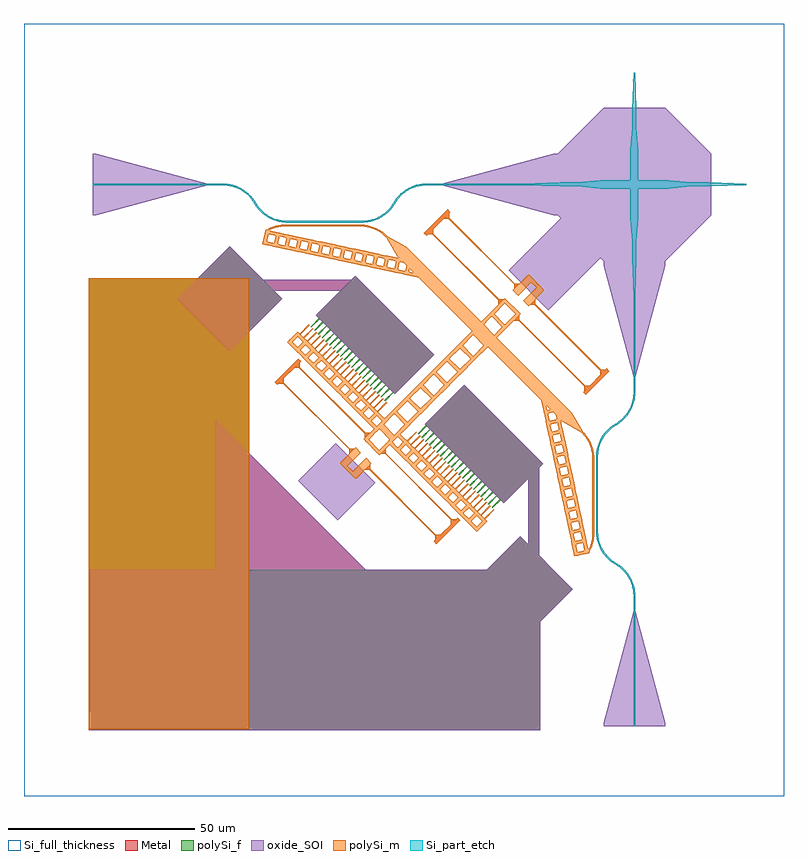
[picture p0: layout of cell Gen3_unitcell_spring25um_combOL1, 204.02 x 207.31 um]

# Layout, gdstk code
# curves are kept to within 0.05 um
from math import pi, radians
import gdstk
lib = gdstk.Library(unit=1e-6, precision=1e-09)
def R(c, l, rs):  # rectangles x0, y0, x1, y1
    for r in rs: c.add(gdstk.rectangle(r[:2], r[2:], *l))
def P(c, l, *ps):  # polygons
    for p in ps: c.add(gdstk.Polygon(p, *l))
Si_full_thickness = (1, 0)
Si_part_etch = (2, 0)
oxide_SOI = (3, 0)
polySi_m = (6, 0)
polySi_f = (7, 0)
Metal = (8, 0)

spring_w300nm_l25um = lib.new_cell('Spring_w300nm_l25um')
R(spring_w300nm_l25um, polySi_m, [(27.215,22.144,28.214,31.144), (29.064,23.495,54.064,23.795), (29.064,29.495,54.064,29.795)])
P(spring_w300nm_l25um, polySi_m, [(28.214,29.644),(28.214,30.644),(29.214,29.644)],
  [(28.214,28.644),(28.214,29.644),(29.214,29.644)],
  [(28.214,23.644),(28.214,24.644),(29.214,23.644)],
  [(28.214,22.644),(28.214,23.644),(29.214,23.644)],
  [(53.914,29.644),(54.914,30.644),(54.914,29.644)],
  [(54.914,28.644),(53.914,29.644),(54.914,29.644)],
  [(53.914,23.644),(54.914,24.644),(54.914,23.644)],
  [(54.914,22.644),(53.914,23.644),(54.914,23.644)])
R(spring_w300nm_l25um, Metal, [(27.215,22.144,28.214,31.144), (29.064,23.495,54.064,23.795), (29.064,29.495,54.064,29.795)])
P(spring_w300nm_l25um, Metal, [(28.214,29.645),(28.214,30.645),(29.214,29.645)],
  [(28.214,28.645),(28.214,29.645),(29.214,29.645)],
  [(28.214,23.645),(28.214,24.645),(29.214,23.645)],
  [(28.214,22.645),(28.214,23.645),(29.214,23.645)],
  [(53.914,29.645),(54.914,30.645),(54.914,29.645)],
  [(54.914,28.645),(53.914,29.645),(54.914,29.645)],
  [(53.914,23.645),(54.914,24.645),(54.914,23.645)],
  [(54.914,22.645),(53.914,23.645),(54.914,23.645)])

transition_w450nm_l30um = lib.new_cell('Transition_w450nm_l30um')
R(transition_w450nm_l30um, Si_part_etch, [(0,-0.225,30,0.225)])
R(transition_w450nm_l30um, oxide_SOI, [(30,-0.225,31,0.225)])
P(transition_w450nm_l30um, oxide_SOI, [(0,-8.225),(0,8.225),(30,0.225),(30,-0.225)])

crossing_linear_3d_switc = lib.new_cell('crossing_linear_3D_switch')
P(crossing_linear_3d_switc, Si_part_etch, [(-0.2,-30),(-0.55,-20),(0.55,-20),(0.2,-30)],
  [(-0.55,20),(-0.2,30),(0.2,30),(0.55,20)],
  [(20,-0.55),(20,0.55),(30,0.2),(30,-0.2)],
  [(-20,-0.55),(-30,-0.2),(-30,0.2),(-20,0.55)],
  [(-0.55,-20),(-0.55,-15.25),(-1.1,-9.25),(-1.1,-1.1),(-9.25,-1.1),(-15.25,-0.55),(-20,-0.55),(-20,0.55),(-15.25,0.55),(-9.25,1.1),(-1.1,1.1),(-1.1,9.25),(-0.55,15.25),(-0.55,20),(0.55,20),(0.55,15.25),(1.1,9.25),(1.1,1.1),(9.25,1.1),(15.25,0.55),(20,0.55),(20,-0.55),(15.25,-0.55),(9.25,-1.1),(1.1,-1.1),(1.1,-9.25),(0.55,-15.25),(0.55,-20)])
R(crossing_linear_3d_switc, oxide_SOI, [(-8.225,-20.6,8.225,20.6), (-20.6,-8.225,20.6,8.225)])
P(crossing_linear_3d_switc, oxide_SOI, [(-20.6,8.225),(-8.225,20.6),(-8.225,8.225)],
  [(8.225,8.225),(8.225,20.6),(20.6,8.225)],
  [(8.225,-20.6),(8.225,-8.225),(20.6,-8.225)],
  [(-8.225,-20.6),(-20.6,-8.225),(-8.225,-8.225)])

gen3_unitcell_spring25um = lib.new_cell('Gen3_unitcell_spring25um_combOL1')
R(gen3_unitcell_spring25um, Si_full_thickness, [(-73.38,-154,130.64,53.31)])
R(gen3_unitcell_spring25um, Si_part_etch, [(90.254,-135.191,90.704,-134.297), (90.254,-104.297,90.704,-100.297), (80.229,-82.933,80.679,-62.933), (90.254,-45.569,90.704,-41.569), (90.254,-11.569,90.704,-10.391), (-2.663,-0.041,17.337,0.409), (-54.921,9.984,-54.027,10.434), (-24.027,9.984,-20.027,10.434), (34.701,9.984,38.701,10.434), (68.701,9.984,69.879,10.434)])
P(gen3_unitcell_spring25um, Si_part_etch, [(90.254,-100.297),(90.183,-99.115),(89.97,-97.951),(89.618,-96.821),(89.132,-95.742),(88.52,-94.729),(87.523,-93.508),(86.343,-92.462),(85.354,-91.81),(85.579,-91.42),(86.889,-92.317),(87.772,-93.118),(88.556,-94.016),(89.429,-95.343),(90.087,-96.79),(90.429,-97.932),(90.582,-98.713),(90.704,-100.297)],
  [(85.354,-91.81),(84.044,-90.913),(83.161,-90.112),(82.377,-89.214),(81.504,-87.887),(80.846,-86.44),(80.504,-85.298),(80.297,-84.123),(80.229,-82.933),(80.679,-82.933),(80.75,-84.115),(80.963,-85.279),(81.462,-86.775),(81.991,-87.834),(82.887,-89.132),(83.689,-90.001),(84.59,-90.768),(85.579,-91.42)],
  [(80.229,-62.933),(80.297,-61.743),(80.504,-60.568),(80.99,-59.055),(81.504,-57.979),(82.14,-56.971),(83.162,-55.754),(84.045,-54.952),(85.354,-54.056),(85.579,-54.446),(84.592,-55.097),(83.691,-55.863),(82.888,-56.733),(81.992,-58.031),(81.463,-59.09),(81.065,-60.205),(80.805,-61.359),(80.679,-62.933)],
  [(85.579,-54.446),(85.354,-54.056),(86.341,-53.405),(87.242,-52.639),(88.045,-51.769),(88.941,-50.471),(89.47,-49.412),(89.868,-48.297),(90.128,-47.143),(90.254,-45.569),(90.704,-45.569),(90.636,-46.759),(90.429,-47.934),(89.943,-49.447),(89.429,-50.523),(88.793,-51.531),(87.771,-52.748),(86.888,-53.55)],
  [(26.214,5.084),(25.824,5.309),(26.721,6.619),(27.811,7.775),(28.42,8.286),(29.403,8.96),(30.458,9.516),(31.951,10.059),(33.511,10.366),(34.701,10.434),(34.701,9.984),(33.128,9.858),(31.974,9.598),(30.499,9.039),(29.462,8.467),(28.502,7.776),(27.633,6.974),(26.866,6.073)],
  [(17.337,-0.041),(17.337,0.409),(18.519,0.48),(19.683,0.693),(21.179,1.192),(22.238,1.721),(23.536,2.617),(24.405,3.419),(25.172,4.32),(25.824,5.309),(26.214,5.084),(25.317,3.774),(24.516,2.891),(23.618,2.107),(22.291,1.234),(20.844,0.576),(19.702,0.234),(18.527,0.027)],
  [(-2.663,-0.041),(-3.853,0.027),(-5.028,0.234),(-6.541,0.72),(-7.617,1.234),(-8.625,1.87),(-9.842,2.892),(-10.644,3.775),(-11.54,5.084),(-11.15,5.309),(-10.499,4.322),(-9.733,3.421),(-8.863,2.618),(-7.565,1.722),(-6.506,1.193),(-5.391,0.795),(-4.237,0.535),(-2.663,0.409)],
  [(-11.54,5.084),(-12.191,6.071),(-12.957,6.972),(-13.827,7.775),(-14.787,8.467),(-15.824,9.038),(-17.299,9.598),(-18.453,9.858),(-20.027,9.984),(-20.027,10.434),(-18.837,10.366),(-17.277,10.059),(-15.784,9.516),(-14.729,8.96),(-13.436,8.036),(-12.569,7.217),(-12.046,6.618),(-11.15,5.309)])
R(gen3_unitcell_spring25um, oxide_SOI, [(-56.026,-136.296,-51.246,-131.516), (-55.746,-136.296,65.254,-93.199), (82.254,-135.191,98.704,-134.297), (61.918,-89.425,64.918,-64.425), (-9.155,-18.352,15.845,-15.352), (-9.155,-18.352,15.845,-15.352), (82.254,-11.569,98.704,-10.391), (-54.921,1.984,-54.027,18.434), (68.701,1.984,69.879,18.434)])
P(gen3_unitcell_spring25um, oxide_SOI, [(26.106,-46.101),(4.893,-24.888),(15.5,-14.281),(36.713,-35.494)],
  [(55.382,-75.376),(34.169,-54.163),(44.776,-43.556),(65.989,-64.769)],
  [(59.776,-112.567),(45.634,-98.425),(59.776,-84.283),(73.918,-98.425)],
  [(-21.929,-102.199),(-21.929,-52.953),(27.317,-102.199)],
  [(67.374,-23.503),(56.767,-12.896),(70.908,1.245),(81.515,-9.362)],
  [(10.876,-80.001),(0.269,-69.394),(10.34,-59.323),(20.947,-69.93)],
  [(-18.154,-34.637),(-32.297,-20.494),(-18.154,-6.351),(-4.011,-20.494)])
R(gen3_unitcell_spring25um, polySi_m, [(-56.026,-136.016,-12.929,-15.016), (79.229,-83.433,79.679,-63.433), (-3.163,-1.041,16.837,-0.591)])
P(gen3_unitcell_spring25um, polySi_m, [(10.695,-45.535),(9.988,-44.828),(12.816,-42),(13.523,-42.707)],
  [(10.694,-45.535),(7.866,-42.707),(8.573,-42),(11.401,-44.828)],
  [(12.816,-47.656),(12.109,-46.949),(14.937,-44.121),(15.644,-44.828)],
  [(10.694,-45.535),(9.987,-44.828),(12.815,-42),(13.522,-42.707)],
  [(14.936,-45.535),(12.108,-42.707),(12.815,-42),(15.643,-44.828)],
  [(12.815,-47.656),(9.987,-44.828),(10.694,-44.121),(13.522,-46.949)],
  [(12.815,-47.656),(12.108,-46.949),(14.936,-44.121),(15.643,-44.828)],
  [(17.057,-47.656),(14.229,-44.828),(14.936,-44.121),(17.764,-46.949)],
  [(35.441,-70.283),(34.734,-69.576),(37.563,-66.747),(38.27,-67.454)],
  [(37.563,-72.404),(34.735,-69.576),(35.442,-68.869),(38.27,-71.697)],
  [(33.32,-68.162),(32.613,-67.455),(35.442,-64.626),(36.149,-65.333)],
  [(35.442,-70.283),(34.735,-69.576),(37.563,-66.748),(38.27,-67.455)],
  [(37.563,-68.162),(34.735,-65.334),(35.442,-64.627),(38.27,-67.455)],
  [(35.442,-70.283),(32.614,-67.455),(33.321,-66.748),(36.149,-69.576)],
  [(33.321,-68.162),(32.614,-67.455),(35.442,-64.627),(36.149,-65.334)],
  [(35.442,-66.041),(32.614,-63.213),(33.321,-62.506),(36.149,-65.334)],
  [(36.614,-47.899),(32.371,-43.656),(33.078,-42.949),(37.321,-47.192)],
  [(71.25,-53.516),(26.753,-9.019),(29.193,-6.579),(73.69,-51.076)],
  [(29.542,-47.898),(28.835,-47.191),(33.078,-42.948),(33.785,-43.655)],
  [(33.078,-51.434),(32.371,-50.727),(36.614,-46.484),(37.321,-47.191)],
  [(36.614,-47.898),(32.371,-43.655),(33.078,-42.948),(37.321,-47.191)],
  [(33.078,-44.362),(32.371,-43.655),(36.614,-39.412),(37.321,-40.119)],
  [(36.614,-47.898),(35.907,-47.191),(40.15,-42.948),(40.857,-43.655)],
  [(34.592,-63.778),(34.38,-63.566),(36.855,-61.091),(37.067,-61.303)],
  [(33.602,-62.788),(33.39,-62.576),(35.865,-60.101),(36.077,-60.313)],
  [(34.592,-63.778),(34.38,-63.566),(36.855,-61.091),(37.067,-61.303)],
  [(33.602,-62.788),(33.39,-62.576),(35.865,-60.101),(36.077,-60.313)],
  [(16.703,-45.889),(16.491,-45.677),(18.966,-43.202),(19.178,-43.414)],
  [(17.693,-46.879),(17.481,-46.667),(19.956,-44.192),(20.168,-44.404)],
  [(16.703,-45.889),(16.491,-45.677),(18.966,-43.202),(19.178,-43.414)],
  [(17.693,-46.879),(17.481,-46.667),(19.956,-44.192),(20.168,-44.404)],
  [(43.685,-40.827),(42.978,-40.12),(47.221,-35.877),(47.928,-36.584)],
  [(50.756,-33.757),(46.513,-29.514),(47.22,-28.807),(51.463,-33.05)],
  [(47.22,-37.292),(42.977,-33.049),(43.684,-32.342),(47.927,-36.585)],
  [(43.684,-33.756),(42.977,-33.049),(47.22,-28.806),(47.927,-29.513)],
  [(47.22,-37.292),(46.513,-36.585),(50.756,-32.342),(51.463,-33.049)],
  [(55.706,-28.807),(51.463,-24.564),(52.17,-23.857),(56.413,-28.1)],
  [(52.17,-32.342),(47.927,-28.099),(48.634,-27.392),(52.877,-31.635)],
  [(48.634,-28.806),(47.927,-28.099),(52.17,-23.856),(52.877,-24.563)],
  [(52.17,-32.342),(51.463,-31.635),(55.706,-27.392),(56.413,-28.099)],
  [(59.242,-25.271),(54.999,-21.028),(55.706,-20.321),(59.949,-24.564)],
  [(55.706,-28.806),(51.463,-24.563),(52.17,-23.856),(56.413,-28.099)],
  [(52.17,-25.27),(51.463,-24.563),(55.706,-20.32),(56.413,-21.027)],
  [(55.706,-28.806),(54.999,-28.099),(59.242,-23.856),(59.949,-24.563)],
  [(40.15,-44.363),(35.907,-40.12),(36.614,-39.413),(40.857,-43.656)],
  [(43.685,-40.828),(39.442,-36.585),(40.149,-35.878),(44.392,-40.121)],
  [(40.149,-44.363),(35.906,-40.12),(36.613,-39.413),(40.856,-43.656)],
  [(36.613,-40.827),(35.906,-40.12),(40.149,-35.877),(40.856,-36.584)],
  [(40.149,-44.363),(39.442,-43.656),(43.685,-39.413),(44.392,-40.12)],
  [(47.221,-37.292),(42.978,-33.049),(43.685,-32.342),(47.928,-36.585)],
  [(43.685,-40.827),(39.442,-36.584),(40.149,-35.877),(44.392,-40.12)],
  [(40.149,-37.291),(39.442,-36.584),(43.685,-32.341),(44.392,-33.048)],
  [(62.07,-22.442),(60.656,-21.028),(64.899,-16.785),(66.313,-18.199)],
  [(59.242,-19.614),(57.828,-18.2),(62.071,-13.957),(63.485,-15.371)],
  [(65.606,-18.907),(61.363,-14.664),(62.07,-13.957),(66.313,-18.2)],
  [(12.815,-43.414),(9.987,-40.586),(10.694,-39.879),(13.522,-42.707)],
  [(12.158,-10.449),(11.18,-10.241),(12.012,-6.33),(12.99,-6.538)],
  [(12.782,-7.516),(8.869,-6.684),(9.077,-5.706),(12.99,-6.538)],
  [(12.159,-10.449),(11.181,-10.242),(12.012,-6.33),(12.99,-6.538)],
  [(15.717,-8.14),(11.804,-7.308),(12.012,-6.33),(15.925,-7.162)],
  [(15.093,-11.073),(11.181,-10.242),(11.388,-9.264),(15.301,-10.096)],
  [(11.753,-40.939),(11.541,-40.727),(14.016,-38.252),(14.228,-38.464)],
  [(10.763,-39.949),(10.551,-39.737),(13.026,-37.262),(13.238,-37.474)],
  [(12.743,-41.929),(12.531,-41.717),(15.006,-39.242),(15.218,-39.454)],
  [(11.753,-40.939),(11.541,-40.727),(14.016,-38.252),(14.228,-38.464)],
  [(12.743,-41.929),(12.531,-41.717),(15.006,-39.242),(15.218,-39.454)],
  [(10.764,-39.95),(10.552,-39.738),(13.027,-37.263),(13.239,-37.475)],
  [(18.651,-8.763),(14.738,-7.931),(14.946,-6.953),(18.859,-7.785)],
  [(18.027,-11.696),(14.115,-10.865),(14.322,-9.887),(18.235,-10.719)],
  [(20.961,-12.32),(19.983,-12.112),(20.815,-8.201),(21.793,-8.409)],
  [(18.027,-11.696),(17.049,-11.489),(17.88,-7.577),(18.858,-7.785)],
  [(21.585,-9.387),(17.672,-8.555),(17.88,-7.577),(21.793,-8.409)],
  [(20.961,-12.32),(17.049,-11.489),(17.256,-10.511),(21.169,-11.343)],
  [(23.896,-12.944),(22.918,-12.736),(23.75,-8.825),(24.728,-9.033)],
  [(20.962,-12.32),(19.984,-12.113),(20.815,-8.201),(21.793,-8.409)],
  [(24.52,-10.011),(20.607,-9.179),(20.815,-8.201),(24.728,-9.033)],
  [(23.896,-12.944),(19.984,-12.113),(20.191,-11.135),(24.104,-11.967)],
  [(26.83,-13.568),(25.852,-13.36),(26.684,-9.449),(27.662,-9.657)],
  [(23.896,-12.944),(22.918,-12.737),(23.749,-8.825),(24.727,-9.033)],
  [(27.454,-10.635),(23.541,-9.803),(23.749,-8.825),(27.662,-9.657)],
  [(26.83,-13.568),(22.918,-12.737),(23.125,-11.759),(27.038,-12.591)],
  [(29.765,-14.191),(28.787,-13.983),(29.619,-10.072),(30.597,-10.28)],
  [(26.831,-13.567),(25.853,-13.36),(26.684,-9.448),(27.662,-9.656)],
  [(30.389,-11.258),(26.476,-10.426),(26.684,-9.448),(30.597,-10.28)],
  [(29.765,-14.191),(25.853,-13.36),(26.06,-12.382),(29.973,-13.214)],
  [(32.699,-14.815),(31.721,-14.607),(32.553,-10.696),(33.531,-10.904)],
  [(29.765,-14.191),(28.787,-13.984),(29.618,-10.072),(30.596,-10.28)],
  [(33.323,-11.882),(29.41,-11.05),(29.618,-10.072),(33.531,-10.904)],
  [(32.699,-14.815),(28.787,-13.984),(28.994,-13.006),(32.907,-13.838)],
  [(15.093,-11.073),(14.115,-10.865),(14.947,-6.954),(15.925,-7.162)],
  [(23.767,-3.911),(23.203,-3.388),(22.283,-2.692),(20.942,-1.941),(20.231,-1.646),(19.127,-1.311),(17.991,-1.108),(16.837,-1.041),(16.837,-0.591),(18.042,-0.661),(19.23,-0.873),(20.384,-1.223),(21.128,-1.531),(22.531,-2.317),(23.794,-3.312),(24.085,-3.593)],
  [(23.837,-3.981),(23.766,-3.91),(24.084,-3.592),(24.155,-3.663)],
  [(26.753,-9.019),(23.836,-3.981),(24.155,-3.662),(29.193,-6.579)],
  [(18.027,-11.696),(17.049,-11.488),(17.881,-7.577),(18.859,-7.785)],
  [(15.093,-11.072),(14.115,-10.865),(14.946,-6.953),(15.924,-7.161)],
  [(0.42,-7.954),(-0.558,-7.746),(0.274,-3.835),(1.252,-4.043)],
  [(-2.514,-7.33),(-3.492,-7.123),(-2.661,-3.211),(-1.683,-3.419)],
  [(1.044,-5.021),(-2.869,-4.189),(-2.661,-3.211),(1.252,-4.043)],
  [(0.42,-7.954),(-3.492,-7.123),(-3.285,-6.145),(0.628,-6.977)],
  [(3.355,-8.578),(2.377,-8.37),(3.209,-4.459),(4.187,-4.667)],
  [(0.421,-7.954),(-0.557,-7.747),(0.274,-3.835),(1.252,-4.043)],
  [(3.979,-5.645),(0.066,-4.813),(0.274,-3.835),(4.187,-4.667)],
  [(3.355,-8.578),(-0.557,-7.747),(-0.35,-6.769),(3.563,-7.601)],
  [(6.289,-9.201),(5.311,-8.993),(6.143,-5.082),(7.121,-5.29)],
  [(3.355,-8.577),(2.377,-8.37),(3.208,-4.458),(4.186,-4.666)],
  [(6.913,-6.268),(3,-5.436),(3.208,-4.458),(7.121,-5.29)],
  [(6.289,-9.201),(2.377,-8.37),(2.584,-7.392),(6.497,-8.224)],
  [(9.224,-9.825),(8.246,-9.617),(9.078,-5.706),(10.056,-5.914)],
  [(6.29,-9.201),(5.312,-8.994),(6.143,-5.082),(7.121,-5.29)],
  [(9.848,-6.892),(5.935,-6.06),(6.143,-5.082),(10.056,-5.914)],
  [(9.224,-9.825),(5.312,-8.994),(5.519,-8.016),(9.432,-8.848)],
  [(-8.063,-2.354),(-8.288,-1.964),(-7.263,-1.445),(-6.55,-1.165),(-5.071,-0.769),(-4.313,-0.654),(-3.163,-0.591),(-3.163,-1.041),(-4.736,-1.167),(-5.89,-1.427),(-7.005,-1.824)],
  [(9.224,-9.825),(8.246,-9.618),(9.077,-5.706),(10.055,-5.914)],
  [(-5.448,-6.707),(-6.426,-6.499),(-5.594,-2.588),(-4.616,-2.796)],
  [(12.158,-10.449),(8.246,-9.618),(8.453,-8.64),(12.366,-9.472)],
  [(-8.382,-6.083),(-9.36,-5.876),(-8.529,-1.964),(-7.551,-2.172)],
  [(-4.824,-3.774),(-8.737,-2.942),(-8.529,-1.964),(-4.616,-2.796)],
  [(-5.448,-6.707),(-9.36,-5.876),(-9.153,-4.898),(-5.24,-5.73)],
  [(-2.514,-7.33),(-3.492,-7.122),(-2.66,-3.211),(-1.682,-3.419)],
  [(-5.448,-6.706),(-6.426,-6.499),(-5.595,-2.587),(-4.617,-2.795)],
  [(-1.89,-4.397),(-5.803,-3.565),(-5.595,-2.587),(-1.682,-3.419)],
  [(-2.514,-7.33),(-6.426,-6.499),(-6.219,-5.521),(-2.306,-6.353)],
  [(6.451,-41.292),(5.744,-40.585),(8.572,-37.757),(9.279,-38.464)],
  [(8.784,-37.97),(8.572,-37.758),(11.047,-35.283),(11.259,-35.495)],
  [(10.693,-41.292),(7.865,-38.464),(8.572,-37.757),(11.4,-40.585)],
  [(7.794,-36.98),(7.582,-36.768),(10.057,-34.293),(10.269,-34.505)],
  [(8.572,-43.413),(5.744,-40.585),(6.451,-39.878),(9.279,-42.706)],
  [(6.452,-41.292),(5.745,-40.585),(8.573,-37.757),(9.28,-38.464)],
  [(0.088,-34.928),(-0.619,-34.221),(2.209,-31.393),(2.916,-32.1)],
  [(9.774,-38.96),(9.562,-38.748),(12.037,-36.273),(12.249,-36.485)],
  [(4.33,-39.171),(3.623,-38.464),(6.451,-35.636),(7.158,-36.343)],
  [(8.573,-43.414),(7.866,-42.707),(10.694,-39.879),(11.401,-40.586)],
  [(8.572,-39.171),(5.744,-36.343),(6.451,-35.636),(9.279,-38.464)],
  [(6.451,-41.292),(3.623,-38.464),(4.33,-37.757),(7.158,-40.585)],
  [(-2.034,-32.807),(-2.741,-32.1),(0.087,-29.272),(0.794,-29.979)],
  [(2.208,-32.807),(-0.62,-29.979),(0.087,-29.272),(2.915,-32.1)],
  [(0.087,-34.928),(-2.741,-32.1),(-2.034,-31.393),(0.794,-34.221)],
  [(2.209,-37.049),(1.502,-36.342),(4.33,-33.514),(5.037,-34.221)],
  [(0.087,-34.928),(-0.62,-34.221),(2.208,-31.393),(2.915,-32.1)],
  [(4.329,-34.928),(1.501,-32.1),(2.208,-31.393),(5.036,-34.221)],
  [(2.208,-37.049),(-0.62,-34.221),(0.087,-33.514),(2.915,-36.342)],
  [(1.854,-31.04),(1.642,-30.828),(4.117,-28.353),(4.329,-28.565)],
  [(0.864,-30.05),(0.652,-29.838),(3.127,-27.363),(3.339,-27.575)],
  [(2.844,-32.03),(2.632,-31.818),(5.107,-29.343),(5.319,-29.555)],
  [(1.854,-31.04),(1.642,-30.828),(4.117,-28.353),(4.329,-28.565)],
  [(3.834,-33.02),(3.622,-32.808),(6.097,-30.333),(6.309,-30.545)],
  [(2.844,-32.03),(2.632,-31.818),(5.107,-29.343),(5.319,-29.555)],
  [(4.824,-34.01),(4.612,-33.798),(7.087,-31.323),(7.299,-31.535)],
  [(3.834,-33.02),(3.622,-32.808),(6.097,-30.333),(6.309,-30.545)],
  [(5.814,-35),(5.602,-34.788),(8.077,-32.313),(8.289,-32.525)],
  [(4.824,-34.01),(4.612,-33.798),(7.087,-31.323),(7.299,-31.535)],
  [(6.804,-35.99),(6.592,-35.778),(9.067,-33.303),(9.279,-33.515)],
  [(5.814,-35),(5.602,-34.788),(8.077,-32.313),(8.289,-32.525)],
  [(6.804,-35.99),(6.592,-35.778),(9.067,-33.303),(9.279,-33.515)],
  [(7.794,-36.98),(7.582,-36.768),(10.057,-34.293),(10.269,-34.505)],
  [(8.784,-37.97),(8.572,-37.758),(11.047,-35.283),(11.259,-35.495)],
  [(8.573,-43.413),(7.866,-42.706),(10.694,-39.878),(11.401,-40.585)],
  [(9.774,-38.96),(9.562,-38.748),(12.037,-36.273),(12.249,-36.485)],
  [(4.331,-39.171),(3.624,-38.464),(6.452,-35.636),(7.159,-36.343)],
  [(2.209,-37.05),(1.502,-36.343),(4.33,-33.515),(5.037,-34.222)],
  [(6.451,-37.05),(3.623,-34.222),(4.33,-33.515),(7.158,-36.343)],
  [(4.33,-39.171),(1.502,-36.343),(2.209,-35.636),(5.037,-38.464)],
  [(14.723,-43.909),(14.511,-43.697),(16.986,-41.222),(17.198,-41.434)],
  [(13.733,-42.919),(13.521,-42.707),(15.996,-40.232),(16.208,-40.444)],
  [(15.713,-44.899),(15.501,-44.687),(17.976,-42.212),(18.188,-42.424)],
  [(14.723,-43.909),(14.511,-43.697),(16.986,-41.222),(17.198,-41.434)],
  [(13.733,-42.919),(13.521,-42.707),(15.996,-40.232),(16.208,-40.444)],
  [(15.713,-44.899),(15.501,-44.687),(17.976,-42.212),(18.188,-42.424)],
  [(31.199,-61.798),(28.371,-58.97),(29.078,-58.263),(31.906,-61.091)],
  [(29.078,-63.919),(26.25,-61.091),(26.957,-60.384),(29.785,-63.212)],
  [(32.612,-61.798),(32.4,-61.586),(34.875,-59.111),(35.087,-59.323)],
  [(24.835,-59.677),(24.128,-58.97),(26.957,-56.141),(27.664,-56.848)],
  [(26.957,-61.798),(26.25,-61.091),(29.078,-58.263),(29.785,-58.97)],
  [(29.078,-59.677),(26.25,-56.849),(26.957,-56.142),(29.785,-58.97)],
  [(26.957,-61.798),(24.129,-58.97),(24.836,-58.263),(27.664,-61.091)],
  [(31.622,-60.808),(31.41,-60.596),(33.885,-58.121),(34.097,-58.333)],
  [(29.542,-54.969),(25.3,-50.727),(26.007,-50.02),(30.249,-54.262)],
  [(32.612,-61.798),(32.4,-61.586),(34.875,-59.111),(35.087,-59.323)],
  [(26.007,-58.505),(21.764,-54.262),(22.471,-53.555),(26.714,-57.798)],
  [(22.471,-54.969),(21.764,-54.262),(26.007,-50.019),(26.714,-50.726)],
  [(30.632,-59.818),(30.42,-59.606),(32.895,-57.131),(33.107,-57.343)],
  [(26.007,-58.505),(25.3,-57.798),(29.543,-53.555),(30.25,-54.262)],
  [(31.622,-60.808),(31.41,-60.596),(33.885,-58.121),(34.097,-58.333)],
  [(33.079,-51.434),(28.836,-47.191),(29.543,-46.484),(33.786,-50.727)],
  [(29.543,-54.969),(25.3,-50.726),(26.007,-50.019),(30.25,-54.262)],
  [(29.642,-58.828),(29.43,-58.616),(31.905,-56.141),(32.117,-56.353)],
  [(26.007,-51.433),(25.3,-50.726),(29.543,-46.483),(30.25,-47.19)],
  [(30.632,-59.818),(30.42,-59.606),(32.895,-57.131),(33.107,-57.343)],
  [(29.543,-54.969),(28.836,-54.262),(33.079,-50.019),(33.786,-50.726)],
  [(21.3,-51.899),(18.472,-49.071),(19.179,-48.364),(22.007,-51.192)],
  [(33.078,-51.434),(28.835,-47.191),(29.542,-46.484),(33.785,-50.727)],
  [(19.179,-54.02),(16.351,-51.192),(17.058,-50.485),(19.886,-53.313)],
  [(21.301,-56.141),(20.594,-55.434),(23.422,-52.606),(24.129,-53.313)],
  [(19.179,-54.02),(18.472,-53.313),(21.3,-50.485),(22.007,-51.192)],
  [(23.421,-54.02),(20.593,-51.192),(21.3,-50.485),(24.128,-53.313)],
  [(21.3,-56.141),(18.472,-53.313),(19.179,-52.606),(22.007,-55.434)],
  [(15.644,-68.869),(11.401,-64.626),(12.108,-63.919),(16.351,-68.162)],
  [(14.937,-49.777),(14.23,-49.07),(17.058,-46.242),(17.765,-46.949)],
  [(12.815,-66.041),(11.401,-64.627),(15.644,-60.384),(17.058,-61.798)],
  [(15.643,-68.869),(14.229,-67.455),(18.472,-63.212),(19.886,-64.626)],
  [(14.936,-49.777),(12.108,-46.949),(12.815,-46.242),(15.643,-49.07)],
  [(17.059,-51.899),(16.352,-51.192),(19.18,-48.364),(19.887,-49.071)],
  [(21.653,-50.839),(21.441,-50.627),(23.916,-48.152),(24.128,-48.364)],
  [(14.937,-49.778),(14.23,-49.071),(17.058,-46.243),(17.765,-46.95)],
  [(20.663,-49.849),(20.451,-49.637),(22.926,-47.162),(23.138,-47.374)],
  [(19.179,-49.778),(16.351,-46.95),(17.058,-46.243),(19.886,-49.071)],
  [(17.058,-51.899),(14.23,-49.071),(14.937,-48.364),(17.765,-51.192)],
  [(31.199,-66.041),(30.492,-65.334),(33.321,-62.505),(34.028,-63.212)],
  [(19.18,-54.02),(18.473,-53.313),(21.301,-50.485),(22.008,-51.192)],
  [(17.058,-51.899),(16.351,-51.192),(19.179,-48.364),(19.886,-49.071)],
  [(33.321,-68.162),(30.493,-65.334),(31.2,-64.627),(34.028,-67.455)],
  [(29.077,-63.919),(28.37,-63.212),(31.199,-60.383),(31.906,-61.09)],
  [(31.199,-66.04),(30.492,-65.333),(33.32,-62.505),(34.027,-63.212)],
  [(18.683,-47.869),(18.471,-47.657),(20.946,-45.182),(21.158,-45.394)],
  [(33.32,-63.919),(30.492,-61.091),(31.199,-60.384),(34.027,-63.212)],
  [(19.673,-48.859),(19.461,-48.647),(21.936,-46.172),(22.148,-46.384)],
  [(18.683,-47.869),(18.471,-47.657),(20.946,-45.182),(21.158,-45.394)],
  [(20.663,-49.849),(20.451,-49.637),(22.926,-47.162),(23.138,-47.374)],
  [(19.673,-48.859),(19.461,-48.647),(21.936,-46.172),(22.148,-46.384)],
  [(25.542,-58.969),(21.3,-54.727),(22.007,-54.02),(26.249,-58.262)],
  [(22.007,-62.505),(17.764,-58.262),(18.471,-57.555),(22.714,-61.798)],
  [(18.471,-58.969),(17.764,-58.262),(22.007,-54.019),(22.714,-54.726)],
  [(22.007,-62.505),(21.3,-61.798),(25.543,-57.555),(26.25,-58.262)],
  [(31.199,-66.04),(28.371,-63.212),(29.078,-62.505),(31.906,-65.333)],
  [(26.956,-61.798),(26.249,-61.091),(29.078,-58.262),(29.785,-58.969)],
  [(29.078,-63.919),(28.371,-63.212),(31.199,-60.384),(31.906,-61.091)],
  [(40.531,-69.717),(40.319,-69.505),(42.794,-67.03),(43.006,-67.242)],
  [(39.684,-70.283),(36.856,-67.455),(37.563,-66.748),(40.391,-69.576)],
  [(39.542,-68.728),(39.33,-68.516),(41.805,-66.041),(42.017,-66.253)],
  [(40.532,-69.718),(40.32,-69.506),(42.795,-67.031),(43.007,-67.243)],
  [(38.552,-67.738),(38.34,-67.526),(40.815,-65.051),(41.027,-65.263)],
  [(39.542,-68.728),(39.33,-68.516),(41.805,-66.041),(42.017,-66.253)],
  [(38.552,-67.738),(38.34,-67.526),(40.815,-65.051),(41.027,-65.263)],
  [(70.03,-69.092),(69.822,-68.114),(73.733,-67.282),(73.941,-68.26)],
  [(73.587,-71.403),(72.755,-67.49),(73.733,-67.282),(74.565,-71.195)],
  [(70.029,-69.091),(69.822,-68.113),(73.733,-67.282),(73.941,-68.26)],
  [(72.963,-68.468),(72.131,-64.555),(73.109,-64.347),(73.941,-68.26)],
  [(70.029,-69.091),(69.198,-65.179),(70.175,-64.971),(71.007,-68.884)],
  [(69.406,-66.157),(69.198,-65.179),(73.109,-64.347),(73.317,-65.325)],
  [(79.229,-63.433),(79.2,-62.664),(79.042,-61.521),(78.624,-60.04),(78.33,-59.328),(77.786,-58.311),(77.126,-57.364),(76.359,-56.503),(76.677,-56.185),(77.224,-56.775),(77.952,-57.737),(78.562,-58.778),(79.046,-59.884),(79.483,-61.431),(79.672,-63.029),(79.679,-63.433)],
  [(68.783,-63.223),(68.575,-62.245),(72.486,-61.413),(72.694,-62.391)],
  [(69.406,-66.157),(69.199,-65.179),(73.11,-64.348),(73.318,-65.326)],
  [(72.34,-65.534),(71.508,-61.621),(72.486,-61.413),(73.318,-65.326)],
  [(69.406,-66.157),(68.575,-62.245),(69.552,-62.037),(70.384,-65.95)],
  [(68.159,-60.289),(67.951,-59.311),(71.862,-58.479),(72.07,-59.457)],
  [(76.359,-56.503),(76.288,-56.432),(76.606,-56.114),(76.677,-56.185)],
  [(68.782,-63.223),(68.575,-62.245),(72.486,-61.414),(72.694,-62.392)],
  [(71.716,-62.6),(70.884,-58.687),(71.862,-58.479),(72.694,-62.392)],
  [(68.782,-63.223),(67.951,-59.311),(68.928,-59.103),(69.76,-63.016)],
  [(67.535,-57.354),(67.327,-56.376),(71.238,-55.544),(71.446,-56.522)],
  [(68.158,-60.288),(67.951,-59.31),(71.862,-58.479),(72.07,-59.457)],
  [(76.288,-56.433),(71.25,-53.516),(73.69,-51.076),(76.607,-56.114)],
  [(71.092,-59.665),(70.26,-55.752),(71.238,-55.544),(72.07,-59.457)],
  [(68.158,-60.288),(67.327,-56.376),(68.304,-56.168),(69.136,-60.081)],
  [(66.911,-54.42),(66.703,-53.442),(70.614,-52.61),(70.822,-53.588)],
  [(67.534,-57.354),(67.327,-56.376),(71.238,-55.545),(71.446,-56.523)],
  [(70.468,-56.731),(69.636,-52.818),(70.614,-52.61),(71.446,-56.523)],
  [(67.534,-57.354),(66.703,-53.442),(67.68,-53.234),(68.512,-57.147)],
  [(66.288,-51.485),(66.08,-50.507),(69.991,-49.675),(70.199,-50.653)],
  [(66.911,-54.419),(66.704,-53.441),(70.615,-52.61),(70.823,-53.588)],
  [(69.845,-53.796),(69.013,-49.883),(69.991,-49.675),(70.823,-53.588)],
  [(66.911,-54.419),(66.08,-50.507),(67.057,-50.299),(67.889,-54.212)],
  [(65.664,-48.551),(65.456,-47.573),(69.367,-46.741),(69.575,-47.719)],
  [(66.287,-51.485),(66.08,-50.507),(69.991,-49.676),(70.199,-50.654)],
  [(69.221,-50.862),(68.389,-46.949),(69.367,-46.741),(70.199,-50.654)],
  [(66.287,-51.485),(65.456,-47.573),(66.433,-47.365),(67.265,-51.278)],
  [(36.572,-65.758),(36.36,-65.546),(38.835,-63.071),(39.047,-63.283)],
  [(35.582,-64.768),(35.37,-64.556),(37.845,-62.081),(38.057,-62.293)],
  [(37.562,-66.748),(37.35,-66.536),(39.825,-64.061),(40.037,-64.273)],
  [(36.572,-65.758),(36.36,-65.546),(38.835,-63.071),(39.047,-63.283)],
  [(35.582,-64.768),(35.37,-64.556),(37.845,-62.081),(38.057,-62.293)],
  [(37.562,-66.748),(37.35,-66.536),(39.825,-64.061),(40.037,-64.273)],
  [(42.511,-71.697),(42.299,-71.485),(44.774,-69.01),(44.986,-69.222)],
  [(37.563,-72.404),(36.856,-71.697),(39.684,-68.869),(40.391,-69.576)],
  [(49.441,-78.627),(49.229,-78.415),(51.704,-75.94),(51.916,-76.152)],
  [(39.684,-74.526),(38.977,-73.819),(41.806,-70.99),(42.513,-71.697)],
  [(48.17,-83.011),(45.342,-80.183),(46.049,-79.476),(48.877,-82.304)],
  [(41.806,-76.647),(41.099,-75.94),(43.927,-73.112),(44.634,-73.819)],
  [(41.521,-70.707),(41.309,-70.495),(43.784,-68.02),(43.996,-68.232)],
  [(50.431,-79.617),(50.219,-79.405),(52.694,-76.93),(52.906,-77.142)],
  [(43.501,-72.687),(43.289,-72.475),(45.764,-70),(45.976,-70.212)],
  [(47.461,-76.647),(47.249,-76.435),(49.724,-73.96),(49.936,-74.172)],
  [(43.927,-78.769),(43.22,-78.062),(46.049,-75.233),(46.756,-75.94)],
  [(43.927,-74.526),(41.099,-71.698),(41.806,-70.991),(44.634,-73.819)],
  [(48.451,-77.637),(48.239,-77.425),(50.714,-74.95),(50.926,-75.162)],
  [(46.049,-80.89),(45.342,-80.183),(48.17,-77.355),(48.877,-78.062)],
  [(41.805,-76.647),(41.098,-75.94),(43.927,-73.111),(44.634,-73.818)],
  [(44.491,-73.677),(44.279,-73.465),(46.754,-70.99),(46.966,-71.202)],
  [(45.481,-74.667),(45.269,-74.455),(47.744,-71.98),(47.956,-72.192)],
  [(49.441,-78.627),(49.229,-78.415),(51.704,-75.94),(51.916,-76.152)],
  [(41.806,-76.647),(38.978,-73.819),(39.685,-73.112),(42.513,-75.94)],
  [(48.17,-78.769),(45.342,-75.941),(46.049,-75.234),(48.877,-78.062)],
  [(46.049,-80.89),(43.221,-78.062),(43.928,-77.355),(46.756,-80.183)],
  [(37.563,-72.405),(36.856,-71.698),(39.685,-68.869),(40.392,-69.576)],
  [(46.471,-75.657),(46.259,-75.445),(48.734,-72.97),(48.946,-73.182)],
  [(47.461,-76.647),(47.249,-76.435),(49.724,-73.96),(49.936,-74.172)],
  [(43.927,-78.768),(43.22,-78.061),(46.048,-75.233),(46.755,-75.94)],
  [(42.511,-71.697),(42.299,-71.485),(44.774,-69.01),(44.986,-69.222)],
  [(46.048,-80.89),(45.341,-80.183),(48.17,-77.354),(48.877,-78.061)],
  [(48.451,-77.637),(48.239,-77.425),(50.714,-74.95),(50.926,-75.162)],
  [(39.685,-74.526),(38.978,-73.819),(41.806,-70.991),(42.513,-71.698)],
  [(43.501,-72.687),(43.289,-72.475),(45.764,-70),(45.976,-70.212)],
  [(48.17,-83.011),(47.463,-82.304),(50.291,-79.476),(50.998,-80.183)],
  [(41.806,-72.405),(38.978,-69.577),(39.685,-68.87),(42.513,-71.698)],
  [(39.685,-74.526),(36.857,-71.698),(37.564,-70.991),(40.392,-73.819)],
  [(50.291,-80.89),(47.463,-78.062),(48.17,-77.355),(50.998,-80.183)],
  [(46.048,-76.647),(43.22,-73.819),(43.927,-73.112),(46.755,-75.94)],
  [(41.521,-70.707),(41.309,-70.495),(43.784,-68.02),(43.996,-68.232)],
  [(44.491,-73.677),(44.279,-73.465),(46.754,-70.99),(46.966,-71.202)],
  [(45.481,-74.667),(45.269,-74.455),(47.744,-71.98),(47.956,-72.192)],
  [(43.927,-78.768),(41.099,-75.94),(41.806,-75.233),(44.634,-78.061)],
  [(46.471,-75.657),(46.259,-75.445),(48.734,-72.97),(48.946,-73.182)],
  [(72.525,-80.83),(72.317,-79.852),(76.228,-79.02),(76.436,-79.998)],
  [(74.211,-74.337),(73.379,-70.424),(74.357,-70.216),(75.189,-74.129)],
  [(71.277,-74.96),(70.446,-71.048),(71.423,-70.84),(72.255,-74.753)],
  [(74.395,-89.632),(74.188,-88.654),(78.099,-87.823),(78.307,-88.801)],
  [(73.148,-83.764),(72.941,-82.786),(76.852,-81.955),(77.06,-82.933)],
  [(73.149,-83.764),(72.941,-82.786),(76.852,-81.954),(77.06,-82.932)],
  [(70.653,-72.026),(70.446,-71.048),(74.357,-70.217),(74.565,-71.195)],
  [(76.082,-83.141),(75.25,-79.228),(76.228,-79.02),(77.06,-82.933)],
  [(73.148,-83.764),(72.317,-79.852),(73.294,-79.644),(74.126,-83.557)],
  [(70.653,-72.026),(69.822,-68.114),(70.799,-67.906),(71.631,-71.819)],
  [(73.772,-86.698),(73.564,-85.72),(77.475,-84.888),(77.683,-85.866)],
  [(71.901,-77.895),(71.693,-76.917),(75.604,-76.085),(75.812,-77.063)],
  [(73.772,-86.698),(73.565,-85.72),(77.476,-84.889),(77.684,-85.867)],
  [(72.524,-80.829),(72.317,-79.851),(76.228,-79.02),(76.436,-79.998)],
  [(75.458,-80.206),(74.626,-76.293),(75.604,-76.085),(76.436,-79.998)],
  [(77.329,-89.009),(76.497,-85.096),(77.475,-84.888),(78.307,-88.801)],
  [(72.524,-80.829),(71.693,-76.917),(72.67,-76.709),(73.502,-80.622)],
  [(76.706,-86.075),(75.874,-82.162),(76.852,-81.954),(77.684,-85.867)],
  [(71.278,-74.961),(71.07,-73.983),(74.981,-73.151),(75.189,-74.129)],
  [(71.901,-77.895),(71.694,-76.917),(75.605,-76.086),(75.813,-77.064)],
  [(78.306,-88.558),(77.916,-88.333),(78.446,-87.275),(78.843,-86.16),(79.103,-85.006),(79.229,-83.433),(79.679,-83.433),(79.616,-84.581),(79.331,-86.086),(78.972,-87.177)],
  [(74.835,-77.272),(74.003,-73.359),(74.981,-73.151),(75.813,-77.064)],
  [(73.772,-86.698),(72.941,-82.786),(73.918,-82.578),(74.75,-86.491)],
  [(71.901,-77.895),(71.07,-73.983),(72.047,-73.775),(72.879,-77.688)],
  [(70.654,-72.026),(70.446,-71.048),(74.357,-70.216),(74.565,-71.194)],
  [(74.395,-89.632),(73.564,-85.72),(74.541,-85.512),(75.373,-89.425)],
  [(71.277,-74.96),(71.07,-73.982),(74.981,-73.151),(75.189,-74.129)])
R(gen3_unitcell_spring25um, polySi_f, [(-55.746,-136.296,65.254,-93.199), (-56.026,-136.016,-12.929,-15.016), (61.918,-89.425,64.918,-64.425)])
P(gen3_unitcell_spring25um, polySi_f, [(-18.154,-34.637),(-32.297,-20.494),(-18.154,-6.351),(-4.011,-20.494)],
  [(59.776,-112.567),(45.634,-98.425),(59.776,-84.283),(73.918,-98.425)],
  [(55.382,-75.376),(34.169,-54.163),(44.776,-43.556),(65.989,-64.769)],
  [(26.106,-46.101),(4.893,-24.888),(15.5,-14.281),(36.713,-35.494)],
  [(3.762,-28.142),(3.55,-27.93),(6.025,-25.455),(6.237,-25.667)],
  [(4.752,-29.132),(4.54,-28.92),(7.015,-26.445),(7.227,-26.657)],
  [(5.742,-30.122),(5.53,-29.91),(8.005,-27.435),(8.217,-27.647)],
  [(6.732,-31.112),(6.52,-30.9),(8.995,-28.425),(9.207,-28.637)],
  [(7.722,-32.102),(7.51,-31.89),(9.985,-29.415),(10.197,-29.627)],
  [(8.712,-33.092),(8.5,-32.88),(10.975,-30.405),(11.187,-30.617)],
  [(9.702,-34.082),(9.49,-33.87),(11.965,-31.395),(12.177,-31.607)],
  [(10.692,-35.072),(10.48,-34.86),(12.955,-32.385),(13.167,-32.597)],
  [(11.682,-36.062),(11.47,-35.85),(13.945,-33.375),(14.157,-33.587)],
  [(12.672,-37.052),(12.46,-36.84),(14.935,-34.365),(15.147,-34.577)],
  [(13.661,-38.041),(13.449,-37.829),(15.924,-35.354),(16.136,-35.566)],
  [(14.651,-39.031),(14.439,-38.819),(16.914,-36.344),(17.126,-36.556)],
  [(15.641,-40.021),(15.429,-39.809),(17.904,-37.334),(18.116,-37.546)],
  [(16.631,-41.011),(16.419,-40.799),(18.894,-38.324),(19.106,-38.536)],
  [(17.621,-42.001),(17.409,-41.789),(19.884,-39.314),(20.096,-39.526)],
  [(18.611,-42.991),(18.399,-42.779),(20.874,-40.304),(21.086,-40.516)],
  [(19.601,-43.981),(19.389,-43.769),(21.864,-41.294),(22.076,-41.506)],
  [(20.591,-44.971),(20.379,-44.759),(22.854,-42.284),(23.066,-42.496)],
  [(21.581,-45.961),(21.369,-45.749),(23.844,-43.274),(24.056,-43.486)],
  [(22.571,-46.951),(22.359,-46.739),(24.834,-44.264),(25.046,-44.476)],
  [(23.561,-47.941),(23.349,-47.729),(25.824,-45.254),(26.036,-45.466)],
  [(51.349,-75.729),(51.137,-75.517),(53.612,-73.042),(53.824,-73.254)],
  [(52.339,-76.719),(52.127,-76.507),(54.602,-74.032),(54.814,-74.244)],
  [(50.359,-74.739),(50.147,-74.527),(52.622,-72.052),(52.834,-72.264)],
  [(49.369,-73.749),(49.157,-73.537),(51.632,-71.062),(51.844,-71.274)],
  [(48.379,-72.759),(48.167,-72.547),(50.642,-70.072),(50.854,-70.284)],
  [(47.389,-71.769),(47.177,-71.557),(49.652,-69.082),(49.864,-69.294)],
  [(46.399,-70.779),(46.187,-70.567),(48.662,-68.092),(48.874,-68.304)],
  [(45.409,-69.789),(45.197,-69.577),(47.672,-67.102),(47.884,-67.314)],
  [(44.419,-68.799),(44.207,-68.587),(46.682,-66.112),(46.894,-66.324)],
  [(43.429,-67.809),(43.217,-67.597),(45.692,-65.122),(45.904,-65.334)],
  [(42.44,-66.82),(42.228,-66.608),(44.703,-64.133),(44.915,-64.345)],
  [(41.45,-65.83),(41.238,-65.618),(43.713,-63.143),(43.925,-63.355)],
  [(40.46,-64.84),(40.248,-64.628),(42.723,-62.153),(42.935,-62.365)],
  [(39.47,-63.85),(39.258,-63.638),(41.733,-61.163),(41.945,-61.375)],
  [(38.48,-62.86),(38.268,-62.648),(40.743,-60.173),(40.955,-60.385)],
  [(37.49,-61.87),(37.278,-61.658),(39.753,-59.183),(39.965,-59.395)],
  [(36.5,-60.88),(36.288,-60.668),(38.763,-58.193),(38.975,-58.405)],
  [(35.51,-59.89),(35.298,-59.678),(37.773,-57.203),(37.985,-57.415)],
  [(34.52,-58.9),(34.308,-58.688),(36.783,-56.213),(36.995,-56.425)],
  [(33.53,-57.91),(33.318,-57.698),(35.793,-55.223),(36.005,-55.435)],
  [(32.54,-56.92),(32.328,-56.708),(34.803,-54.233),(35.015,-54.445)])
R(gen3_unitcell_spring25um, Metal, [(-55.746,-136.296,65.254,-93.199), (-56.026,-136.016,-12.929,-15.016), (61.918,-89.425,64.918,-64.425), (-9.155,-18.352,15.845,-15.352)])
P(gen3_unitcell_spring25um, Metal, [(26.106,-46.101),(4.893,-24.888),(15.5,-14.281),(36.713,-35.494)],
  [(-18.154,-34.637),(-32.297,-20.494),(-18.154,-6.351),(-4.011,-20.494)],
  [(-21.929,-102.199),(-21.929,-52.953),(27.317,-102.199)],
  [(59.776,-112.567),(45.634,-98.425),(59.776,-84.283),(73.918,-98.425)],
  [(55.382,-75.376),(34.169,-54.163),(44.776,-43.556),(65.989,-64.769)])
gen3_unitcell_spring25um.add(gdstk.Reference(spring_w300nm_l25um, (78.618,-83.552), rotation=radians(135)))
gen3_unitcell_spring25um.add(gdstk.Reference(spring_w300nm_l25um, (-40.967,-39.333), rotation=radians(315)))
gen3_unitcell_spring25um.add(gdstk.Reference(spring_w300nm_l25um, (118.681,-43.491), rotation=radians(135)))
gen3_unitcell_spring25um.add(gdstk.Reference(spring_w300nm_l25um, (-0.904,0.728), rotation=radians(315)))
gen3_unitcell_spring25um.add(gdstk.Reference(transition_w450nm_l30um, (90.479,-134.297), rotation=pi/2))
gen3_unitcell_spring25um.add(gdstk.Reference(transition_w450nm_l30um, (90.479,-11.569), rotation=3*pi/2, x_reflection=True))
gen3_unitcell_spring25um.add(gdstk.Reference(transition_w450nm_l30um, (68.701,10.209), rotation=pi, x_reflection=True))
gen3_unitcell_spring25um.add(gdstk.Reference(transition_w450nm_l30um, (-54.027,10.209)))
gen3_unitcell_spring25um.add(gdstk.Reference(crossing_linear_3d_switc, (90.479,10.209)))

lib.write_gds('Gen3_unitcell_spring25um_combOL1.gds')
